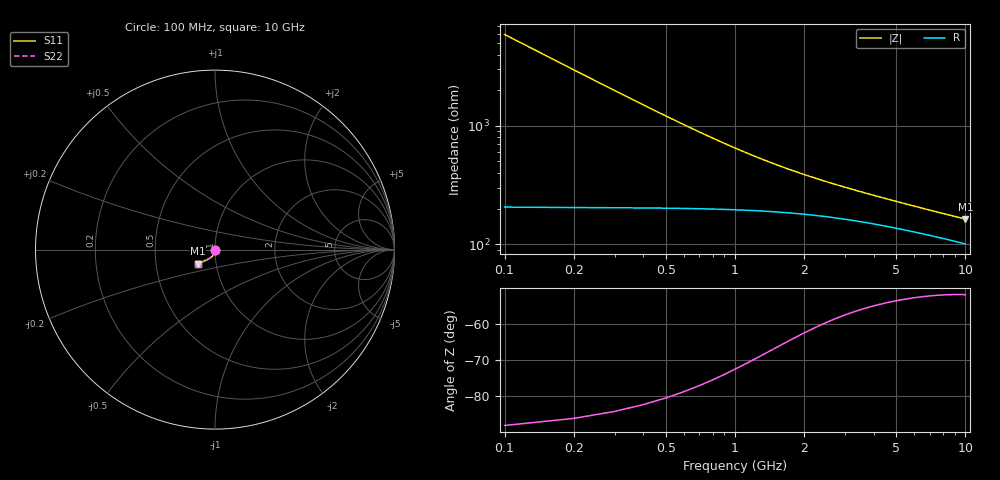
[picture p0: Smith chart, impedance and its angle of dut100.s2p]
! Touchstone file exported from HFSS 2024.1.0
!  File:  C:/UserFiles/LocalFiles/RDL_TSV_Batchsim/temp_TSV1_100_1778752283.aedt
!  Generated:  05:55:32 PM May 14, 2026
!  Design:  TSV1
!  Project:  temp_TSV1_100_1778752283
!  Setup:  Setup1
!  Solution:  Sweep
! Variables:
!  dtsv = 25.66um
!  hbump = 3um
!  htsv = 87um
!  lrdl = 252.1521522um
!  p = 40
!  p1 = 58.43um
!  t = 500um
!  trdl = 3um
!  wrdl = 24.89489489um
# GHz S MA R 50.000000
! Terminal data exported
! Port[1] = TSV22_T1
! Port[2] = TSV22_T2
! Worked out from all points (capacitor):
!   100 points, 100 MHz to 10 GHz, reference 50 ohm
!   read as one part in shunt: C = 269 fF near 100 MHz
!   lowest |Z| = 163 ohm at 10 GHz (marker M1)
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0.1  0.003933 -91.2  0.9998 -0.3  0.9998 -0.3  0.003933 -91.2
! Gamma 0 0 0 0
! Port Impedance 50 0 50 0
0.2  0.007839 -93.9  0.9993 -0.5  0.9993 -0.5  0.007839 -93.9
0.3  0.01169 -96.3  0.9985 -0.8  0.9985 -0.8  0.01169 -96.3
0.4  0.01547 -98.5  0.9974 -1.0  0.9974 -1.0  0.01547 -98.5
0.5  0.01915 -100.7  0.9961 -1.2  0.9961 -1.2  0.01915 -100.7
0.6  0.02271 -102.7  0.9947 -1.5  0.9947 -1.5  0.02271 -102.7
0.7  0.02615 -104.7  0.993 -1.7  0.993 -1.7  0.02615 -104.7
0.8  0.02945 -106.6  0.9913 -1.9  0.9913 -1.9  0.02945 -106.6
0.9  0.03261 -108.4  0.9894 -2.0  0.9894 -2.0  0.03261 -108.4
1.1  0.03848 -111.7  0.9856 -2.4  0.9856 -2.4  0.03848 -111.7
1.4  0.04625 -116.0  0.9798 -2.8  0.9798 -2.8  0.04625 -116.0
1.6  0.05079 -118.4  0.9761 -3.0  0.9761 -3.0  0.05079 -118.4
1.8  0.0549 -120.5  0.9726 -3.2  0.9726 -3.2  0.0549 -120.5
2.1  0.06037 -123.2  0.9676 -3.5  0.9676 -3.5  0.06037 -123.2
2.5  0.06667 -126.1  0.9617 -3.9  0.9617 -3.9  0.06667 -126.1
2.9  0.07213 -128.3  0.9565 -4.1  0.9565 -4.1  0.07213 -128.3
3.4  0.07812 -130.5  0.9507 -4.5  0.9507 -4.5  0.07812 -130.5
4.2  0.08639 -133.0  0.9429 -4.9  0.9429 -4.9  0.08639 -133.0
5.1  0.09437 -135.0  0.9355 -5.4  0.9355 -5.4  0.09437 -135.0
6.7  0.1062 -137.6  0.9248 -6.2  0.9248 -6.2  0.1062 -137.6
8.4  0.1164 -139.3  0.9157 -6.9  0.9157 -6.9  0.1164 -139.3
10  0.1246 -140.5  0.9087 -7.6  0.9087 -7.6  0.1246 -140.5
